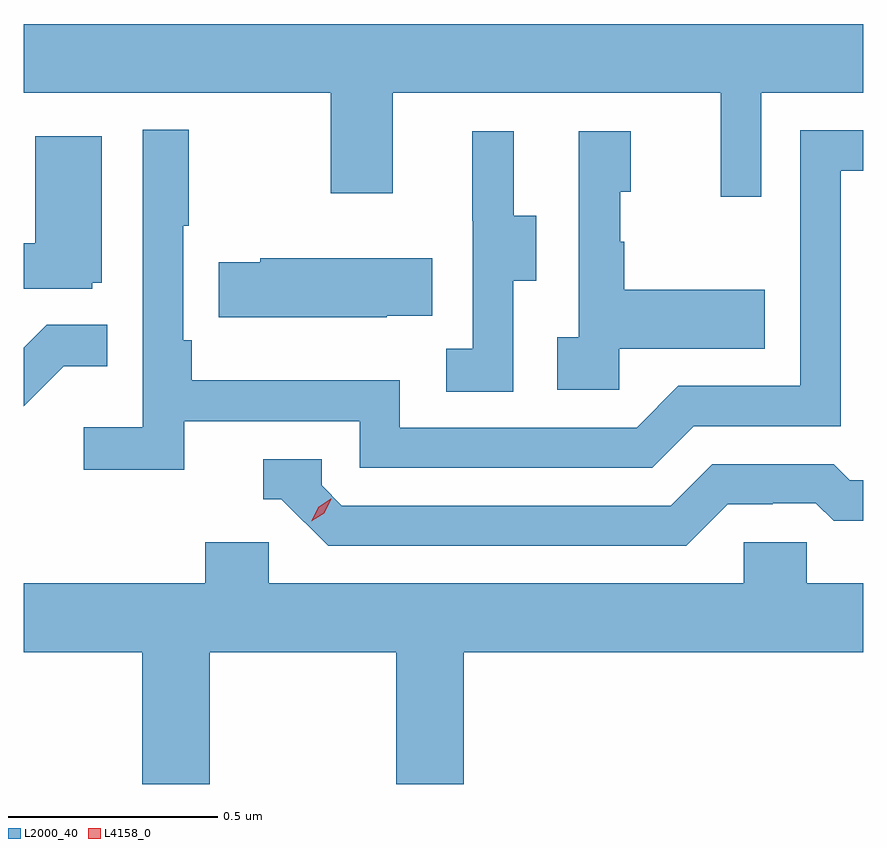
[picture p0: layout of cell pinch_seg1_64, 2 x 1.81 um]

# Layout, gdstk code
import gdstk
lib = gdstk.Library(unit=1e-6, precision=1e-09)
def P(c, l, *ps):  # polygons
    for p in ps: c.add(gdstk.Polygon(p, *l))
L2000_40 = (2000, 40)
L4158_0 = (4158, 0)

pinch_seg1_64 = lib.new_cell('pinch_seg1_64')
P(pinch_seg1_64, L2000_40, [(1036.203,571.712),(1036.446,571.712),(1036.446,571.876),(1034.446,571.876),(1034.446,571.712),(1035.178,571.712),(1035.178,571.473),(1035.325,571.473),(1035.325,571.712),(1036.106,571.712),(1036.106,571.464),(1036.203,571.464)],
  [(1034.828,570.93),(1035.246,570.93),(1035.246,570.819),(1035.943,570.819),(1036.042,570.918),(1036.392,570.918),(1036.392,571.527),(1036.446,571.527),(1036.446,571.623),(1036.296,571.623),(1036.296,571.014),(1036.005,571.014),(1035.906,570.915),(1035.342,570.915),(1035.342,571.027),(1034.846,571.027),(1034.846,571.123),(1034.826,571.123),(1034.826,571.396),(1034.839,571.396),(1034.839,571.624),(1034.73,571.624),(1034.73,570.916),(1034.589,570.916),(1034.589,570.814),(1034.828,570.814)],
  [(1035.612,571.264),(1035.667,571.264),(1035.667,571.419),(1035.613,571.419),(1035.613,571.621),(1035.515,571.621),(1035.515,571.407),(1035.516,571.407),(1035.516,571.103),(1035.453,571.103),(1035.453,571),(1035.612,571)],
  [(1035.864,571.103),(1036.211,571.103),(1036.211,571.243),(1035.877,571.243),(1035.877,571.358),(1035.867,571.358),(1035.867,571.476),(1035.892,571.476),(1035.892,571.621),(1035.768,571.621),(1035.768,571.13),(1035.717,571.13),(1035.717,571.005),(1035.864,571.005)],
  [(1034.61,571.26),(1034.632,571.26),(1034.632,571.609),(1034.474,571.609),(1034.474,571.354),(1034.446,571.354),(1034.446,571.245),(1034.61,571.245)],
  [(1035.311,571.181),(1035.419,571.181),(1035.419,571.318),(1035.009,571.318),(1035.009,571.308),(1034.911,571.308),(1034.911,571.178),(1035.311,571.178)],
  [(1034.541,571.061),(1034.645,571.061),(1034.645,571.16),(1034.501,571.16),(1034.446,571.105),(1034.446,570.966)],
  [(1036.123,570.732),(1036.23,570.732),(1036.23,570.735),(1036.333,570.735),(1036.375,570.693),(1036.446,570.693),(1036.446,570.789),(1036.414,570.789),(1036.375,570.828),(1036.086,570.828),(1035.987,570.729),(1035.204,570.729),(1035.156,570.777),(1035.156,570.84),(1035.017,570.84),(1035.017,570.744),(1035.06,570.744),(1035.171,570.633),(1036.024,570.633)],
  [(1034.889,570.38),(1035.334,570.38),(1035.334,570.066),(1035.494,570.066),(1035.494,570.38),(1036.446,570.38),(1036.446,570.544),(1036.311,570.544),(1036.311,570.642),(1036.161,570.642),(1036.161,570.544),(1035.03,570.544),(1035.03,570.642),(1034.879,570.642),(1034.879,570.544),(1034.446,570.544),(1034.446,570.38),(1034.728,570.38),(1034.728,570.066),(1034.889,570.066)])
P(pinch_seg1_64, L4158_0, [(1035.131,570.692),(1035.131,570.692),(1035.148,570.725),(1035.178,570.745),(1035.179,570.745),(1035.179,570.744),(1035.162,570.711),(1035.131,570.692)])

lib.write_gds('pinch_seg1_64.gds')
